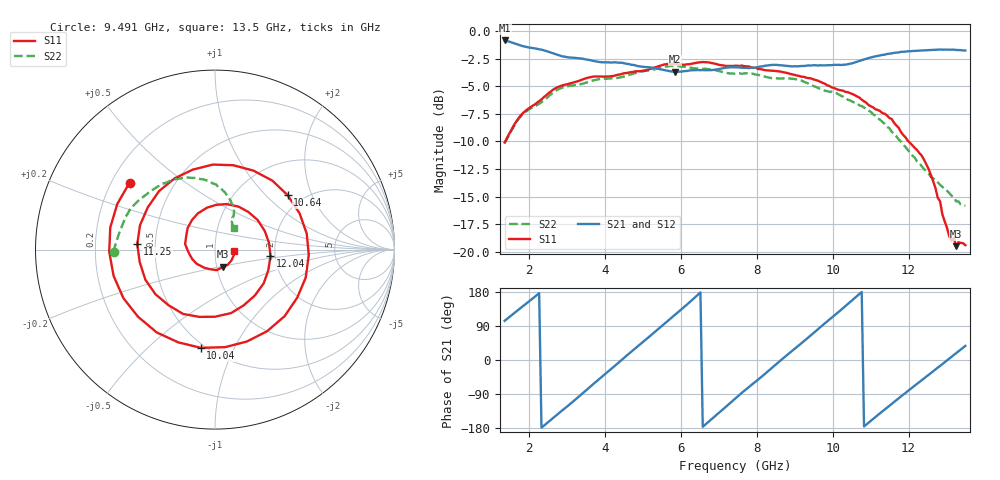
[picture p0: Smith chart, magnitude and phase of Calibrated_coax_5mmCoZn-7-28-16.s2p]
!Agilent Technologies,N5230C,MY48100320,A.08.04.10
!Agilent N5230C: A.08.04.10
!Date: Friday, July 29, 2016 03:07:01
!Correction: S11(Full 2 Port(1,2))
!S21(Full 2 Port(1,2))
!S12(Full 2 Port(1,2))
!S22(Full 2 Port(1,2))
!S2P File: Measurements: S11, S21, S12, S22:
# Hz S  dB  R 50
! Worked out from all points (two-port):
!   201 points, 1.35 GHz to 13.5 GHz, reference 50 ohm
!   highest |S21| = -0.84 dB at 1.35 GHz (marker M1); lowest = -3.7 dB at 5.846 GHz (marker M2)
!   |S21| within 3 dB of the highest: start of sweep to end of sweep
!   lowest |S11| = -19.5 dB at 13.26 GHz (marker M3), VSWR 1.24, Z = 53.8 - j10.4 ohm
!   |S11| at or under -10 dB: start of sweep to 1.364 GHz; 12 GHz to end of sweep
!   |S22| runs from -15.8 to -3.1 dB; largest |S21 - S12| = 0.0021
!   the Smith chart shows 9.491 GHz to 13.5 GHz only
!   S11 on the Smith chart (normalised r, x): 9.491 GHz: 0.27, +0.32; 10.04 GHz: 0.47, -0.75; 10.64 GHz: 1.66, +1.36; 11.25 GHz: 0.40, +0.03; 12.04 GHz: 1.89, -0.16; 13.5 GHz: 1.24, -0.02
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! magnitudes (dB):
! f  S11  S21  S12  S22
! 1.35 GHz  -10.1  -0.8  -0.8  -10.2
! 1.897 GHz  -7.2  -1.4  -1.4  -7.3
! 2.747 GHz  -5.1  -2.1  -2.1  -5.3
! 3.416 GHz  -4.4  -2.5  -2.5  -4.8
! 5.42 GHz  -3.2  -3.4  -3.4  -3.4
! 5.846 GHz  -3.0  -3.7  -3.7  -3.1
! 7.425 GHz  -3.1  -3.3  -3.3  -3.9
! 8.944 GHz  -3.9  -3.2  -3.2  -4.3
! 9.491 GHz  -4.4  -3.1  -3.1  -5.0
! 10.04 GHz  -5.1  -3.0  -3.0  -5.6
! 10.64 GHz  -5.9  -2.8  -2.8  -6.5
! 11.25 GHz  -7.2  -2.2  -2.2  -8.0
! 11.5 GHz  -7.9  -2.0  -2.0  -8.8
! 12.04 GHz  -10.1  -1.8  -1.8  -11.0
! 12.53 GHz  -12.5  -1.7  -1.7  -12.9
! 12.83 GHz  -15.4  -1.7  -1.7  -13.9
! 12.89 GHz  -16.6  -1.7  -1.7  -14.1
! 13.07 GHz  -18.6  -1.7  -1.7  -14.7
! 13.2 GHz  -18.8  -1.7  -1.7  -15.1
! 13.26 GHz  -19.5  -1.7  -1.7  -15.4
! 13.32 GHz  -19.1  -1.7  -1.7  -15.4
! 13.5 GHz  -19.4  -1.8  -1.8  -15.8
